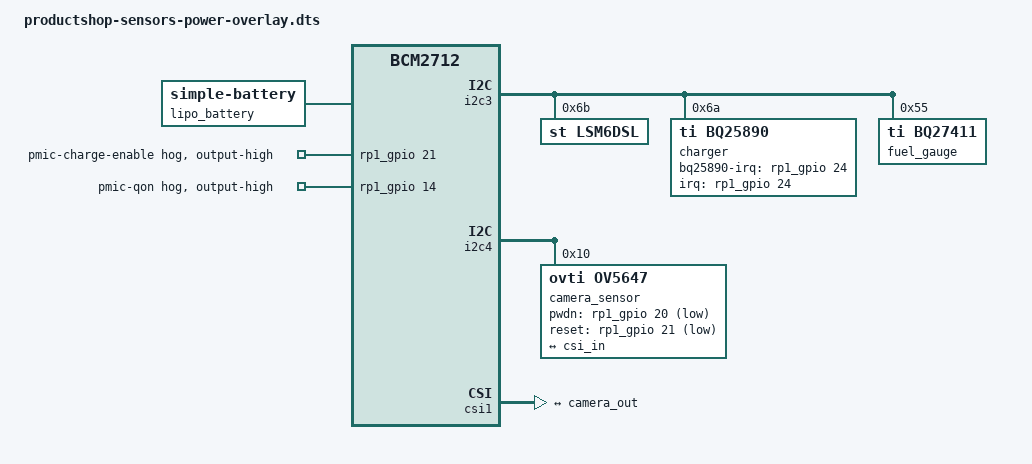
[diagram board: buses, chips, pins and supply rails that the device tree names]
/dts-v1/;
/plugin/;

/{
    compatible = "brcm,bcm2712";

    // Battery Definition
    lipo_battery: battery {
        compatible = "simple-battery";
        voltage-min-design-microvolt = <3000000>;
        voltage-max-design-microvolt = <4200000>;
        energy-full-design-microwatt-hours = <37000000>;
        charge-full-design-microamp-hours = <10000000>;
    };

    // GPIO pins for I2C devices
    fragment@0 {
        target = <&rp1_gpio>;
        __overlay__ {
            pmic_pins: pmic_pins {
                pins = "gpio6", "gpio14", "gpio21", "gpio24";
                function = "gpio";
                bias-pull-up;
            };

            // Default enables for PMIC control lines
            pmic_charge_en_hog: pmic_charge_en_hog_control {
                gpio-hog;
                gpios = <21 0>;
                output-high; // enable charging by default
                line-name = "pmic-charge-enable";
            };

            pmic_qon_hog: pmic_qon_hog_control {
                gpio-hog;
                gpios = <14 0>;
                output-high;
                line-name = "pmic-qon";
            };

            // Camera pin groups (I2C2 + control pins)
            camera_pins: camera_pins {
                pins = "gpio12", "gpio13", "gpio20", "gpio21"; // I2C2 + PWDN/RESET
                function = "gpio";
                bias-pull-up;
            };

            camera_i2c_pins: camera_i2c_pins {
                pins = "gpio12", "gpio13"; // I2C2 SDA/SCL
                function = "i2c2";
            };
        };
    };

    // I2C3 for IMU and power management
    fragment@1 {
        target = <&i2c3>;
        __overlay__ {
            #address-cells = <1>;
            #size-cells = <0>;
            pinctrl-0 = <&rp1_i2c3_22_23>;
            status = "okay";
            
            lsm6dsl@6b {
                compatible = "st,lsm6dsl";
                reg = <0x6b>;
                /* IMU orientation: +Y -> 0deg, +X -> 90deg (rotate +90 deg about Z)
                 * Use numeric cells; the driver expects a 3x3 matrix of integers in [-1,0,1].
                 * [ 0 -1  0 ]
                 * [ 1  0  0 ]
                 * [ 0  0  1 ]
                 */
                mount-matrix = <0 -1 0  1 0 0  0 0 1>;
                status = "okay";
            };
            
            charger@6a {
                compatible = "ti,bq25890";
                reg = <0x6a>;
                pinctrl-names = "default";
                pinctrl-0 = <&pmic_pins>;
                /* PMIC IRQ on GPIO24 (active low) */
                interrupt-parent = <&rp1_gpio>;
                interrupts = <24 8>; /* IRQ_TYPE_LEVEL_LOW */
                /* Also expose named GPIO for drivers using gpiod */
                bq25890-irq-gpios = <&rp1_gpio 24 0>;
                ti,battery-regulation-voltage = <4200000>;
                ti,charge-current = <2000000>;
                ti,termination-current = <128000>;
                ti,precharge-current = <128000>;
                ti,minimum-sys-voltage = <3000000>;
                ti,boost-voltage = <5126000>;
                ti,boost-max-current = <1400000>;
                ti,input-current-limit = <2000000>;
                monitored-battery = <&lipo_battery>;
                status = "okay";
            };

            fuel_gauge@55 {
                compatible = "ti,bq27411";
                reg = <0x55>;
                monitored-battery = <&lipo_battery>;
                status = "okay";
            };
        };
    };

    // Camera I2C bus (I2C2) and sensor placeholder
    fragment@2 {
        target = <&i2c4>; // RP1 I2C2 controller alias
        __overlay__ {
            #address-cells = <1>;
            #size-cells = <0>;
            pinctrl-names = "default";
            pinctrl-0 = <&rp1_i2c2_12_13>;
            status = "okay";

            camera_sensor@10 {
                compatible = "ovti,ov5647"; // Common Pi camera sensor
                reg = <0x10>;
                status = "okay";
                // Standard camera control pins
                pwdn-gpios = <&rp1_gpio 20 1>;    // Power down (active high)
                reset-gpios = <&rp1_gpio 21 1>;   // Reset (active high)

                port {
                    camera_out: endpoint {
                        remote-endpoint = <&csi_in>;
                        clock-lanes = <0>;
                        data-lanes = <1 2>;
                    };
                };
            };
        };
    };

    // CSI receiver hookup
    fragment@3 {
        target = <&csi1>;
        __overlay__ {
            status = "okay";
            port {
                csi_in: endpoint {
                    remote-endpoint = <&camera_out>;
                };
            };
        };
    };
};
